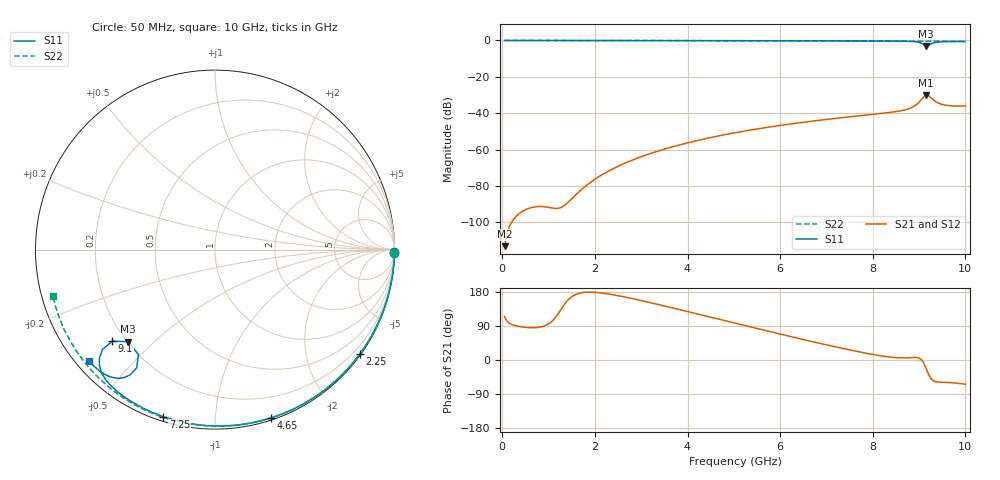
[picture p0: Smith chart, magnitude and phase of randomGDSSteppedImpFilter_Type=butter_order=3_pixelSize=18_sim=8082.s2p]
! freq	dB(S11)	phase(S11)	dB(S12)	phase(S12)
!  dB(S21)	phase(S21)	dB(S22)	phase(S22)
!S-par simulation data
#  GHz  S  DB  R 50
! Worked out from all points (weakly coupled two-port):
!   200 points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, 50 MHz to 10 GHz, reference 50 ohm
!   highest |S21| = -30.15 dB at 9.15 GHz (marker M1); lowest = -113.2 dB at 50 MHz (marker M2)
!   lowest |S11| = -3.0 dB at 9.15 GHz (marker M3), VSWR 5.79, Z = 10.2 - j20.8 ohm
!   |S11| at or under -10 dB: nowhere
!   |S22| runs from -0.5 to 0.0 dB; largest |S21 - S12| = 0
!   S11 on the Smith chart (normalised r, x): 50 MHz: open; 2.25 GHz: 0.03, -3.08; 4.65 GHz: 0.02, -1.38; 7.25 GHz: 0.02, -0.74; 9.1 GHz: 0.15, -0.37; 10 GHz: 0.04, -0.38
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0.05  -0.00 -0.8  -113.17 114.6  -113.17 114.6  -0.00 -1.0
0.85  -0.02 -13.8  -91.38 87.7  -91.38 87.7  -0.02 -16.1
1.75  -0.04 -28.1  -81.12 178.2  -81.12 178.2  -0.04 -32.8
1.8  -0.04 -28.9  -80.08 178.8  -80.08 178.8  -0.04 -33.8
2.25  -0.05 -35.9  -72.48 175.0  -72.48 175.0  -0.05 -41.9
2.75  -0.06 -43.6  -66.42 163.5  -66.42 163.5  -0.07 -50.9
3.4  -0.07 -53.5  -60.56 145.5  -60.56 145.5  -0.08 -62.2
4.65  -0.10 -71.7  -52.62 108.5  -52.62 108.5  -0.12 -83.1
5.05  -0.12 -77.3  -50.66 96.5  -50.66 96.5  -0.14 -89.5
6.7  -0.19 -99.9  -44.36 48.3  -44.36 48.3  -0.22 -115.0
7.25  -0.23 -107.2  -42.72 33.2  -42.72 33.2  -0.26 -123.2
8.35  -0.33 -122.4  -39.66 8.1  -39.66 8.1  -0.36 -139.4
8.65  -0.40 -127.4  -38.44 5.5  -38.44 5.5  -0.39 -143.8
8.85  -0.56 -131.9  -36.77 6.3  -36.77 6.3  -0.41 -146.8
9  -1.07 -136.8  -33.98 5.0  -33.98 5.0  -0.43 -149.0
9.1  -2.30 -138.3  -31.08 -7.7  -31.08 -7.7  -0.43 -150.4
9.15  -3.03 -133.3  -30.15 -21.7  -30.15 -21.7  -0.43 -151.2
9.2  -2.81 -126.1  -30.36 -36.9  -30.36 -36.9  -0.43 -151.9
9.25  -2.06 -123.5  -31.37 -47.9  -31.37 -47.9  -0.44 -152.7
9.35  -1.14 -125.5  -33.51 -56.8  -33.51 -56.8  -0.46 -154.2
9.6  -0.65 -131.8  -35.71 -59.3  -35.71 -59.3  -0.49 -158.0
10  -0.57 -138.5  -36.03 -64.1  -36.03 -64.1  -0.54 -164.1
